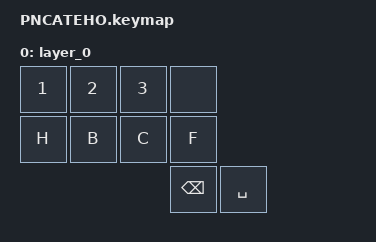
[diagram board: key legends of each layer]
/*
 * Copyright (c) 2020 The ZMK Contributors
 *
 * SPDX-License-Identifier: MIT
 */

#include <behaviors.dtsi>
#include <dt-bindings/zmk/keys.h>

&lt { quick_tap_ms = <200>; };

&mt { quick_tap_ms = <200>; };

/ {
    combos {
        compatible = "zmk,combos";

	SYM_D {
            bindings = <&kp D>;
            key-positions = <6 7>;
        };

	SYM_K {
            bindings = <&kp K>;
            key-positions = <5 7>;
        };

	SYM_R {
            bindings = <&kp R>;
            key-positions = <5 6>;
        };

	SYM_V {
            bindings = <&kp V>;
            key-positions = <4 7>;
        };

	SYM_L {
            bindings = <&kp L>;
            key-positions = <4 6>;
        };

	SYM_G {
            bindings = <&kp G>;
            key-positions = <4 5>;
        };

	SYM_E {
            bindings = <&kp E>;
            key-positions = <5 6 7>;
        };

	SYM_Z {
            bindings = <&kp Z>;
            key-positions = <4 6 7>;
        };

	SYM_S {
            bindings = <&kp S>;
            key-positions = <4 5 7>;
        };

	SYM_M {
            bindings = <&kp M>;
            key-positions = <4 5 6>;
        };

	SYM_U {
            bindings = <&kp U>;
            key-positions = <4 5 6 7>;
        };

	SYM_J {
            bindings = <&kp J>;
            key-positions = <7 9>;
        };

	SYM_Y {
            bindings = <&kp Y>;
            key-positions = <6 9>;
        };

	SYM_T {
            bindings = <&kp T>;
            key-positions = <5 9>;
        };

	SYM_N {
            bindings = <&kp N>;
            key-positions = <4 9>;
        };

	SYM_DOT {
            bindings = <&kp DOT>;
            key-positions = <6 7 9>;
        };

	SYM_SEMI {
            bindings = <&kp T>;
            key-positions = <5 7 9>;
        };

	SYM_COM {
            bindings = <&kp COMMA>;
            key-positions = <5 6 9>;
        };

	SYM_P {
            bindings = <&kp P>;
            key-positions = <4 7 9>;
        };

	SYM_Q {
            bindings = <&kp Q>;
            key-positions = <4 6 9>;
        };

	SYM_X {
            bindings = <&kp X>;
            key-positions = <4 5 9>;
        };

	SYM_I {
            bindings = <&kp I>;
            key-positions = <5 6 7 9>;
        };

	SYM_W {
            bindings = <&kp W>;
            key-positions = <4 6 7 9>;
        };

	SYM_O {
            bindings = <&kp O>;
            key-positions = <4 5 7 9>;
        };

	SYM_SQT {
            bindings = <&kp SQT>;
            key-positions = <4 5 6 9>;
        };

	SYM_A {
            bindings = <&kp A>;
            key-positions = <4 5 6 7 9>;
        };

	SYM_RIGHT {
            bindings = <&kp RIGHT>;
            key-positions = <7 8>;
        };

	SYM_UP {
            bindings = <&kp UP>;
            key-positions = <6 8>;
        };

	SYM_DOWN {
            bindings = <&kp DOWN>;
            key-positions = <5 8>;
        };

	SYM_LEFT {
            bindings = <&kp LEFT>;
            key-positions = <4 8>;
        };

	SYM_RET {
            bindings = <&kp RET>;
            key-positions = <6 7 8>;
        };

	SYM_PGUP {
            bindings = <&kp PG_UP>;
            key-positions = <5 7 8>;
        };

	SYM_PGDN {
            bindings = <&kp PG_DN>;
            key-positions = <5 6 8>;
        };

	SYM_HOME {
            bindings = <&kp HOME>;
            key-positions = <4 7 8>;
        };

	SYM_END {
            bindings = <&kp END>;
            key-positions = <4 6 8>;
        };

	SYM_CAPS {
            bindings = <&kp CAPS>;
            key-positions = <4 5 8>;
        };

	SYM_TAB {
            bindings = <&kp TAB>;
            key-positions = <5 6 7 8>;
        };

	SYM_DEL {
            bindings = <&kp DEL>;
            key-positions = <4 6 7 8>;
        };
/*
	SYM_? {
            bindings = <&kp A>;
            key-positions = <4 5 7 8>;
        };
*/
	SYM_GUI {
            bindings = <&kt LGUI>;
            key-positions = <4 5 6 8>;
        };

	SYM_ESC {
            bindings = <&kp ESC>;
            key-positions = <4 5 6 7 8>;
        };

	SYM_SHIFT {
            bindings = <&kt LSHIFT>;
            key-positions = <1 2>;
        };

	SYM_ALT {
            bindings = <&kt LALT>;
            key-positions = <0 2>;
        };

	SYM_CTRL {
            bindings = <&kt LCTRL>;
            key-positions = <0 1>;
        };

	SYM_N0 {
            bindings = <&kp N0>;
            key-positions = <0 1 2>;
        };

	SYM_N6 {
            bindings = <&kp N6>;
            key-positions = <2 9>;
        };

	SYM_N5 {
            bindings = <&kp N5>;
            key-positions = <1 9>;
        };

	SYM_N4 {
            bindings = <&kp N4>;
            key-positions = <0 9>;
        };

	SYM_RBKT {
            bindings = <&kp RBKT>;
            key-positions = <1 2 9>;
        };
/*
	SYM_SEMI {
            bindings = <&kp SEMI>;
            key-positions = <0 2 9>;
        };
*/
	SYM_LBKT {
            bindings = <&kp LBKT>;
            key-positions = <0 1 9>;
        };

	SYM_MINUS {
            bindings = <&kp MINUS>;
            key-positions = <0 1 2 9>;
        };

	SYM_N9 {
            bindings = <&kp N9>;
            key-positions = <2 8>;
        };

	SYM_N8 {
            bindings = <&kp N8>;
            key-positions = <1 8>;
        };

	SYM_N7 {
            bindings = <&kp N7>;
            key-positions = <0 8>;
        };

	SYM_SLASH {
            bindings = <&kp SLASH>;
            key-positions = <1 2 8>;
        };

	SYM_EQUAL {
            bindings = <&kp EQUAL>;
            key-positions = <0 2 8>;
        };

	SYM_BSLH {
            bindings = <&kp BSLH>;
            key-positions = <0 1 8>;
        };

	SYM_GR {
            bindings = <&kp GRAVE>;
            key-positions = <0 1 2 8>;
        };
    };

    keymap {
        compatible = "zmk,keymap";

        layer_0 {
            bindings = <
&kp N1  &kp N2  &kp N3  &none
&kp H   &kp B   &kp C   &kp F
                        &kp BSPC  &kp SPACE
            >;
        };
    };
};
